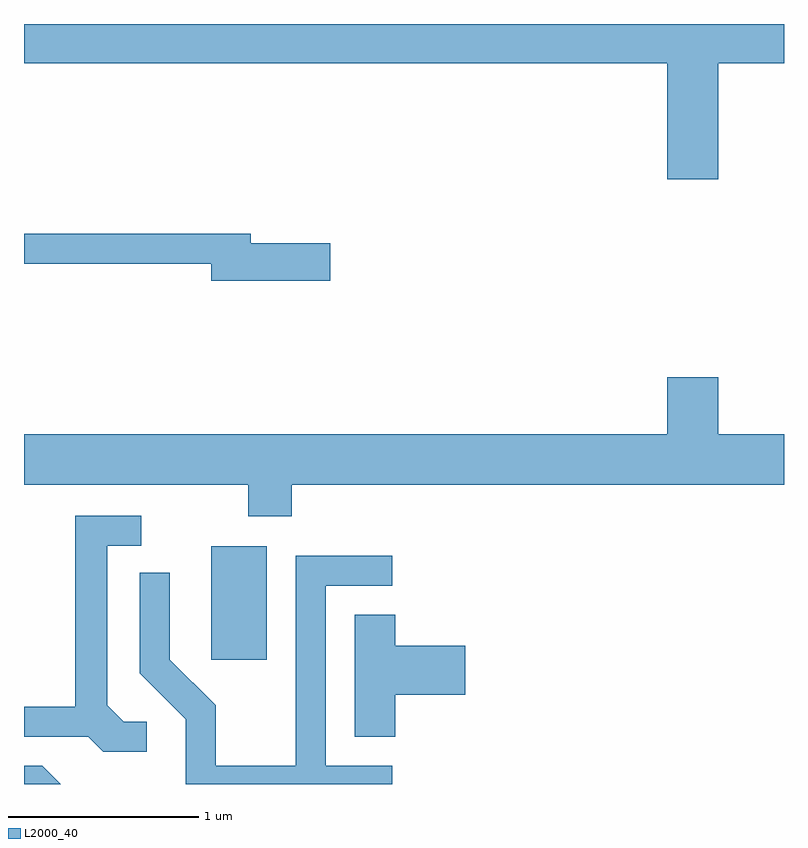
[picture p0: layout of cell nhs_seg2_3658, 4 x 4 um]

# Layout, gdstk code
import gdstk
lib = gdstk.Library(unit=1e-6, precision=1e-09)
def R(c, l, rs):  # rectangles x0, y0, x1, y1
    for r in rs: c.add(gdstk.rectangle(r[:2], r[2:], *l))
def P(c, l, *ps):  # polygons
    for p in ps: c.add(gdstk.Polygon(p, *l))
L2000_40 = (2000, 40)

nhs_seg2_3658 = lib.new_cell('nhs_seg2_3658')
R(nhs_seg2_3658, L2000_40, [(292.596,1098.456,292.889,1099.054)])
P(nhs_seg2_3658, L2000_40, [(295.264,1101.596),(295.611,1101.596),(295.611,1101.802),(291.611,1101.802),(291.611,1101.596),(294.996,1101.596),(294.996,1100.986),(295.264,1100.986)],
  [(293.224,1100.649),(292.804,1100.649),(292.804,1100.699),(291.611,1100.699),(291.611,1100.541),(292.596,1100.541),(292.596,1100.451),(293.224,1100.451)],
  [(293.019,1099.376),(295.611,1099.376),(295.611,1099.644),(295.264,1099.644),(295.264,1099.944),(294.996,1099.944),(294.996,1099.644),(291.611,1099.644),(291.611,1099.376),(292.791,1099.376),(292.791,1099.211),(293.019,1099.211)],
  [(292.258,1098.129),(292.137,1098.129),(292.049,1098.217),(292.049,1099.056),(292.228,1099.056),(292.228,1099.214),(291.881,1099.214),(291.881,1098.209),(291.611,1098.209),(291.611,1098.051),(291.949,1098.051),(292.029,1097.971),(292.258,1097.971)],
  [(293.548,1097.899),(293.199,1097.899),(293.199,1098.846),(293.548,1098.846),(293.548,1099.004),(293.041,1099.004),(293.041,1097.899),(292.619,1097.899),(292.619,1098.217),(292.379,1098.457),(292.379,1098.913),(292.221,1098.913),(292.221,1098.384),(292.461,1098.144),(292.461,1097.802),(293.548,1097.802)],
  [(293.564,1098.271),(293.934,1098.271),(293.934,1098.529),(293.564,1098.529),(293.564,1098.694),(293.351,1098.694),(293.351,1098.051),(293.564,1098.051)],
  [(291.707,1097.899),(291.611,1097.899),(291.611,1097.802),(291.804,1097.802)])

lib.write_gds('nhs_seg2_3658.gds')
